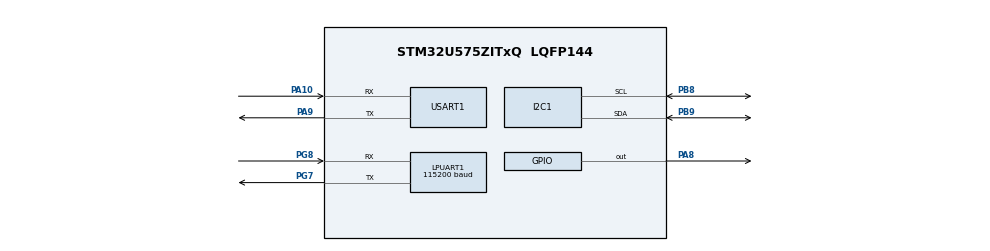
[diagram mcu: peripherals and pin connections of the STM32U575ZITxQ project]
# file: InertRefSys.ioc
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CORTEX_M33_NS.userName=CORTEX_M33
GPDMA1.CIRCULARMODE_GPDMACH0=ENABLE
GPDMA1.DESTINC_GPDMACH0=DMA_DINC_INCREMENTED
GPDMA1.IPHANDLE_GPDMACH0-SIMPLEREQUEST_GPDMACH0=__NULL
GPDMA1.REQUEST_GPDMACH0=GPDMA1_REQUEST_LPUART1_RX
GPDMA1.SRCINC_GPDMACH0=DMA_SINC_FIXED
I2C1.Timing=0x00000E14
LPUART1.BaudRate=115200
Mcu.Family=STM32U5
Mcu.Name=STM32U575ZITxQ
Mcu.Package=LQFP144
NUCLEO-U575ZI-Q.BUTTON=1
NUCLEO-U575ZI-Q.LD1=true
NUCLEO-U575ZI-Q.LD2=true
NUCLEO-U575ZI-Q.LD3=true
NVIC.EXTI13_IRQn=true\:0\:0\:false\:false\:true\:false\:true\:true
NVIC.GPDMA1_Channel0_IRQn=true\:0\:0\:false\:false\:true\:false\:true\:true
NVIC.LPUART1_IRQn=true\:0\:0\:false\:false\:true\:true\:true\:true
NVIC.PriorityGroup=NVIC_PRIORITYGROUP_3
NVIC.TIM17_IRQn=true\:7\:0\:false\:false\:true\:false\:true\:true
NVIC.TIM1_BRK_IRQn=true\:0\:0\:false\:false\:true\:true\:true\:true
NVIC.TIM1_UP_IRQn=true\:0\:0\:false\:false\:true\:true\:true\:true
NVIC.TimeBase=TIM17_IRQn
NVIC.TimeBaseIP=TIM17
NVIC.USART1_IRQn=true\:0\:0\:false\:false\:true\:true\:true\:true
PA10.Mode=Asynchronous
PA10.Signal=USART1_RX
PA13\ (JTMS/SWDIO).Signal=DEBUG_JTMS-SWDIO
PA14\ (JTCK/SWCLK).Signal=DEBUG_JTCK-SWCLK
PA8.GPIO_Speed=GPIO_SPEED_FREQ_VERY_HIGH
PA8.Signal=GPIO_Output
PA9.Mode=Asynchronous
PA9.Signal=USART1_TX
PB3\ (JTDO/TRACESWO).Signal=DEBUG_JTDO-SWO
PB8.Mode=I2C
PB8.Signal=I2C1_SCL
PB9.Mode=I2C
PB9.Signal=I2C1_SDA
PC14-OSC32_IN\ (PC14).Signal=RCC_OSC32_IN
PC15-OSC32_OUT\ (PC15).Signal=RCC_OSC32_OUT
PG7.Mode=Asynchronous
PG7.Signal=LPUART1_TX
PG8.Mode=Asynchronous
PG8.Signal=LPUART1_RX
PWR.PowerMode=PWR_SMPS_SUPPLY
ProjectManager.HeapSize=0x200
ProjectManager.StackSize=0x400
ProjectManager.TargetToolchain=CMake
RCC.ADCFreq_Value=16000000
RCC.DACCLockSelectionVirtual=RCC_DAC1CLKSOURCE_LSI
RCC.EPOD_VALUE=4000000
RCC.HSE_VALUE=16000000
RCC.HSI48_VALUE=48000000
RCC.HSI_VALUE=16000000
RCC.LSE_VALUE=32768
RCC.LSIDIV_VALUE=32000
RCC.MSI_VALUE=4000000
RCC.USBFreq_Value=48000000
RCC.VCOOutputFreq_Value=516000000
STMicroelectronics.X-CUBE-GNSS1.7.1.0.GNSSCcBoardOoPartJjGnssJjTeseoOoLIV3F=BareOoMetal
STMicroelectronics.X-CUBE-GNSS1.7.1.0.libIignssCcDataOoExchangeJjlibIignssJjInterface=Basic
STMicroelectronics.X-CUBE-GNSS1.7.1.0.libIignssCcDataOoExchangeJjlibIignssJjLibGNSS=true
STMicroelectronics.X-CUBE-GNSS1.7.1.0.libIignssCcDataOoExchangeJjlibIignssJjLibNMEA=true
TIM1.ClockDivision=TIM_CLOCKDIVISION_DIV1
TIM1.PeriodNoDither=519
TIM1.Prescaler=0
USART1.VirtualMode-Asynchronous=VM_ASYNC
VP_GPDMA1_VS_GPDMACH0.Mode=SIMPLEREQUEST_GPDMACH0
VP_ICACHE_VS_ENABLE_ICACHE_MEMORY.Mode=Memoryregions
VP_ICACHE_VS_ICACHE.Mode=DirectMappedCache
VP_LPBAMQUEUE_VS_QUEUE.Mode=QUEUEMODE
VP_LPBAM_VS_SIG1.Mode=SmartRun
VP_LPBAM_VS_SIG4.Mode=LPDMA1
VP_MEMORYMAP_VS_MEMORYMAP.Mode=CurAppReg
VP_NUCLEO-U575ZI-Q_VS_BSP_COMMON.Mode=COMMON
VP_PWR_VS_DBSignals.Mode=DisableDeadBatterySignals
VP_PWR_VS_LPOM.Mode=PowerOptimisation
VP_PWR_VS_SECSignals.Mode=Security/Privilege
VP_STMicroelectronics.X-CUBE-GNSS1_VS_BoardOoPartJjGNSS_5.0.0_7.1.0.Mode=BoardOoPartJjGNSS
VP_STMicroelectronics.X-CUBE-GNSS1_VS_DataOoExchangeJjlibIignss_5.1.0_7.1.0.Mode=DataOoExchangeJjlibIignss
VP_SYS_VS_tim17.Mode=TIM17
VP_TIM1_VS_ClockSourceINT.Mode=Internal
board=NUCLEO-U575ZI-Q

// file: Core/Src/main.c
/* USER CODE BEGIN Header */
/**
  ******************************************************************************
  * @file           : main.c
  * @brief          : Main program body
  ******************************************************************************
  * @attention
  *
  * Copyright (c) 2025 STMicroelectronics.
  * All rights reserved.
  *
  * This software is licensed under terms that can be found in the LICENSE file
  * in the root directory of this software component.
  * If no LICENSE file comes with this software, it is provided AS-IS.
  *
  ******************************************************************************
  */
/* USER CODE END Header */
#include "main.h"

/* USER CODE BEGIN Includes */
#include <stdio.h>
#include "IRS/IRS.h"
/* USER CODE END Includes */

I2C_HandleTypeDef hi2c1;

UART_HandleTypeDef hlpuart1;
UART_HandleTypeDef huart1;
DMA_NodeTypeDef Node_GPDMA1_Channel0;
DMA_QListTypeDef List_GPDMA1_Channel0;
DMA_HandleTypeDef handle_GPDMA1_Channel0;

TIM_HandleTypeDef htim1;

/* USER CODE BEGIN PV */
  static Vector3D accel;
  static Vector3D mag;
  static Vector3D GNSS_position;
  static uint8_t GNSS_IsAligned;
static uint32_t currentTime = 0;
// Get and print current angles every second
static uint32_t lastPrintTime = 0;
/* USER CODE END PV */

void SystemClock_Config(void);
static void SystemPower_Config(void);
static void MX_GPIO_Init(void);
static void MX_GPDMA1_Init(void);
static void MX_ICACHE_Init(void);
static void MX_USART1_UART_Init(void);
static void MX_I2C1_Init(void);
static void MX_TIM1_Init(void);
static void MX_LPUART1_UART_Init(void);
/* USER CODE BEGIN PFP */
#define PUTCHAR_PROTOTYPE int __io_putchar(int ch)
/* USER CODE END PFP */

/* USER CODE BEGIN 0 */
void printAcceleration(void) {
  IMU_readDataPolling();
  IMU_getAccelerationVector3D(&accel);

  printf("Acceleration: x: %f y: %f z: %f\n", accel.x, accel.y, accel.z);
}
/* USER CODE END 0 */

int main(void)
{

  /* MCU Configuration--------------------------------------------------------*/

  /* Reset of all peripherals, Initializes the Flash interface and the Systick. */
  HAL_Init();

  /* Configure the System Power */
  SystemPower_Config();

  /* Configure the system clock */
  SystemClock_Config();

  /* Initialize all configured peripherals */
  MX_GPIO_Init();
  MX_GPDMA1_Init();
  MX_ICACHE_Init();
  MX_USART1_UART_Init();
  MX_I2C1_Init();
  MX_TIM1_Init();
  MX_LPUART1_UART_Init();
  /* USER CODE BEGIN 2 */
  HAL_TIM_Base_Start_IT(&htim1);
  HAL_Delay(2000);
  IRS_setup(&hi2c1, &hlpuart1);
  /* USER CODE END 2 */

  /* Initialize leds */
  BSP_LED_Init(LED_GREEN);
  BSP_LED_Init(LED_BLUE);
  BSP_LED_Init(LED_RED);

  /* Initialize USER push-button, will be used to trigger an interrupt each time it's pressed.*/
  BSP_PB_Init(BUTTON_USER, BUTTON_MODE_EXTI);

  /* Infinite loop */
  while (1)
  {

  }
}

void SystemClock_Config(void)
{
  RCC_OscInitTypeDef RCC_OscInitStruct = {0};
  RCC_ClkInitTypeDef RCC_ClkInitStruct = {0};

  /** Configure the main internal regulator output voltage
  */
  if (HAL_PWREx_ControlVoltageScaling(PWR_REGULATOR_VOLTAGE_SCALE4) != HAL_OK)
  {
    Error_Handler();
  }

  /** Initializes the CPU, AHB and APB buses clocks
  */
  RCC_OscInitStruct.OscillatorType = RCC_OSCILLATORTYPE_MSI;
  RCC_OscInitStruct.MSIState = RCC_MSI_ON;
  RCC_OscInitStruct.MSICalibrationValue = RCC_MSICALIBRATION_DEFAULT;
  RCC_OscInitStruct.MSIClockRange = RCC_MSIRANGE_4;
  RCC_OscInitStruct.PLL.PLLState = RCC_PLL_NONE;
  if (HAL_RCC_OscConfig(&RCC_OscInitStruct) != HAL_OK)
  {
    Error_Handler();
  }

  /** Initializes the CPU, AHB and APB buses clocks
  */
  RCC_ClkInitStruct.ClockType = RCC_CLOCKTYPE_HCLK|RCC_CLOCKTYPE_SYSCLK
                              |RCC_CLOCKTYPE_PCLK1|RCC_CLOCKTYPE_PCLK2
                              |RCC_CLOCKTYPE_PCLK3;
  RCC_ClkInitStruct.SYSCLKSource = RCC_SYSCLKSOURCE_MSI;
  RCC_ClkInitStruct.AHBCLKDivider = RCC_SYSCLK_DIV1;
  RCC_ClkInitStruct.APB1CLKDivider = RCC_HCLK_DIV1;
  RCC_ClkInitStruct.APB2CLKDivider = RCC_HCLK_DIV1;
  RCC_ClkInitStruct.APB3CLKDivider = RCC_HCLK_DIV1;

  if (HAL_RCC_ClockConfig(&RCC_ClkInitStruct, FLASH_LATENCY_0) != HAL_OK)
  {
    Error_Handler();
  }
}

/**
  * @brief Power Configuration
  * @retval None
  */
static void SystemPower_Config(void)
{
  HAL_PWREx_EnableVddIO2();

  /*
   * Disable the internal Pull-Up in Dead Battery pins of UCPD peripheral
   */
  HAL_PWREx_DisableUCPDDeadBattery();

  /*
   * Switch to SMPS regulator instead of LDO
   */
  if (HAL_PWREx_ConfigSupply(PWR_SMPS_SUPPLY) != HAL_OK)
  {
    Error_Handler();
  }
}

static void MX_GPDMA1_Init(void)
{

  /* Peripheral clock enable */
  __HAL_RCC_GPDMA1_CLK_ENABLE();

  /* GPDMA1 interrupt Init */
    HAL_NVIC_SetPriority(GPDMA1_Channel0_IRQn, 0, 0);
    HAL_NVIC_EnableIRQ(GPDMA1_Channel0_IRQn);

}

static void MX_I2C1_Init(void)
{

  hi2c1.Instance = I2C1;
  hi2c1.Init.Timing = 0x00000E14;
  hi2c1.Init.OwnAddress1 = 0;
  hi2c1.Init.AddressingMode = I2C_ADDRESSINGMODE_7BIT;
  hi2c1.Init.DualAddressMode = I2C_DUALADDRESS_DISABLE;
  hi2c1.Init.OwnAddress2 = 0;
  hi2c1.Init.OwnAddress2Masks = I2C_OA2_NOMASK;
  hi2c1.Init.GeneralCallMode = I2C_GENERALCALL_DISABLE;
  hi2c1.Init.NoStretchMode = I2C_NOSTRETCH_DISABLE;
  if (HAL_I2C_Init(&hi2c1) != HAL_OK)
  {
    Error_Handler();
  }

  /** Configure Analogue filter
  */
  if (HAL_I2CEx_ConfigAnalogFilter(&hi2c1, I2C_ANALOGFILTER_ENABLE) != HAL_OK)
  {
    Error_Handler();
  }

  /** Configure Digital filter
  */
  if (HAL_I2CEx_ConfigDigitalFilter(&hi2c1, 0) != HAL_OK)
  {
    Error_Handler();
  }

}

static void MX_ICACHE_Init(void)
{

  /** Enable instruction cache in 1-way (direct mapped cache)
  */
  if (HAL_ICACHE_ConfigAssociativityMode(ICACHE_1WAY) != HAL_OK)
  {
    Error_Handler();
  }
  if (HAL_ICACHE_Enable() != HAL_OK)
  {
    Error_Handler();
  }

}

static void MX_LPUART1_UART_Init(void)
{

  hlpuart1.Instance = LPUART1;
  hlpuart1.Init.BaudRate = 115200;
  hlpuart1.Init.WordLength = UART_WORDLENGTH_8B;
  hlpuart1.Init.StopBits = UART_STOPBITS_1;
  hlpuart1.Init.Parity = UART_PARITY_NONE;
  hlpuart1.Init.Mode = UART_MODE_TX_RX;
  hlpuart1.Init.HwFlowCtl = UART_HWCONTROL_NONE;
  hlpuart1.Init.OneBitSampling = UART_ONE_BIT_SAMPLE_DISABLE;
  hlpuart1.Init.ClockPrescaler = UART_PRESCALER_DIV1;
  hlpuart1.AdvancedInit.AdvFeatureInit = UART_ADVFEATURE_NO_INIT;
  hlpuart1.FifoMode = UART_FIFOMODE_DISABLE;
  if (HAL_UART_Init(&hlpuart1) != HAL_OK)
  {
    Error_Handler();
  }
  if (HAL_UARTEx_SetTxFifoThreshold(&hlpuart1, UART_TXFIFO_THRESHOLD_1_8) != HAL_OK)
  {
    Error_Handler();
  }
  if (HAL_UARTEx_SetRxFifoThreshold(&hlpuart1, UART_RXFIFO_THRESHOLD_1_8) != HAL_OK)
  {
    Error_Handler();
  }
  if (HAL_UARTEx_DisableFifoMode(&hlpuart1) != HAL_OK)
  {
    Error_Handler();
  }

}

static void MX_USART1_UART_Init(void)
{

  huart1.Instance = USART1;
  huart1.Init.BaudRate = 115200;
  huart1.Init.WordLength = UART_WORDLENGTH_8B;
  huart1.Init.StopBits = UART_STOPBITS_1;
  huart1.Init.Parity = UART_PARITY_NONE;
  huart1.Init.Mode = UART_MODE_TX_RX;
  huart1.Init.HwFlowCtl = UART_HWCONTROL_NONE;
  huart1.Init.OverSampling = UART_OVERSAMPLING_16;
  huart1.Init.OneBitSampling = UART_ONE_BIT_SAMPLE_DISABLE;
  huart1.Init.ClockPrescaler = UART_PRESCALER_DIV1;
  huart1.AdvancedInit.AdvFeatureInit = UART_ADVFEATURE_NO_INIT;
  if (HAL_UART_Init(&huart1) != HAL_OK)
  {
    Error_Handler();
  }
  if (HAL_UARTEx_SetTxFifoThreshold(&huart1, UART_TXFIFO_THRESHOLD_1_8) != HAL_OK)
  {
    Error_Handler();
  }
  if (HAL_UARTEx_SetRxFifoThreshold(&huart1, UART_RXFIFO_THRESHOLD_1_8) != HAL_OK)
  {
    Error_Handler();
  }
  if (HAL_UARTEx_DisableFifoMode(&huart1) != HAL_OK)
  {
    Error_Handler();
  }

}

static void MX_TIM1_Init(void)
{

  TIM_ClockConfigTypeDef sClockSourceConfig = {0};
  TIM_MasterConfigTypeDef sMasterConfig = {0};

  htim1.Instance = TIM1;
  htim1.Init.Prescaler = 0;
  htim1.Init.CounterMode = TIM_COUNTERMODE_UP;
  htim1.Init.Period = 519;
  htim1.Init.ClockDivision = TIM_CLOCKDIVISION_DIV1;
  htim1.Init.RepetitionCounter = 0;
  htim1.Init.AutoReloadPreload = TIM_AUTORELOAD_PRELOAD_DISABLE;
  if (HAL_TIM_Base_Init(&htim1) != HAL_OK)
  {
    Error_Handler();
  }
  sClockSourceConfig.ClockSource = TIM_CLOCKSOURCE_INTERNAL;
  if (HAL_TIM_ConfigClockSource(&htim1, &sClockSourceConfig) != HAL_OK)
  {
    Error_Handler();
  }
  sMasterConfig.MasterOutputTrigger = TIM_TRGO_RESET;
  sMasterConfig.MasterOutputTrigger2 = TIM_TRGO2_RESET;
  sMasterConfig.MasterSlaveMode = TIM_MASTERSLAVEMODE_DISABLE;
  if (HAL_TIMEx_MasterConfigSynchronization(&htim1, &sMasterConfig) != HAL_OK)
  {
    Error_Handler();
  }

}

static void MX_GPIO_Init(void)
{
  GPIO_InitTypeDef GPIO_InitStruct = {0};

  /* GPIO Ports Clock Enable */
  __HAL_RCC_GPIOC_CLK_ENABLE();
  __HAL_RCC_GPIOG_CLK_ENABLE();
  __HAL_RCC_GPIOA_CLK_ENABLE();
  __HAL_RCC_GPIOB_CLK_ENABLE();

  /*Configure GPIO pin Output Level */
  HAL_GPIO_WritePin(GPIOA, GPIO_PIN_8, GPIO_PIN_RESET);

  /*Configure GPIO pin : PA8 */
  GPIO_InitStruct.Pin = GPIO_PIN_8;
  GPIO_InitStruct.Mode = GPIO_MODE_OUTPUT_PP;
  GPIO_InitStruct.Pull = GPIO_NOPULL;
  GPIO_InitStruct.Speed = GPIO_SPEED_FREQ_VERY_HIGH;
  HAL_GPIO_Init(GPIOA, &GPIO_InitStruct);

}

/* USER CODE BEGIN 4 */
PUTCHAR_PROTOTYPE
{
  HAL_UART_Transmit(&huart1, (uint8_t *)&ch, 1, 0xFFFF);
  return ch;
}
/* USER CODE END 4 */

void HAL_TIM_PeriodElapsedCallback(TIM_HandleTypeDef *htim)
{
  /* USER CODE BEGIN Callback 0 */
  if (htim->Instance == TIM1) {
    HAL_GPIO_TogglePin(GPIOA, GPIO_PIN_8);
  }
  /* USER CODE END Callback 0 */
  if (htim->Instance == TIM17)
  {
    HAL_IncTick();
  }
}

void Error_Handler(void)
{
  __disable_irq();
  while (1)
  {
  }
}
